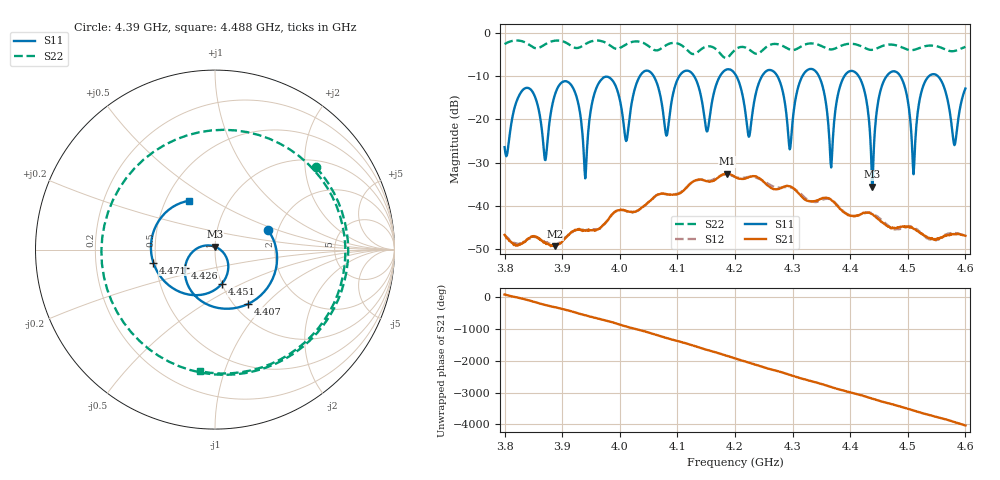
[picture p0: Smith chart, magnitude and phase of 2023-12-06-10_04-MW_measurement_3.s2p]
!Created with skrf (http://scikit-rf.org).
# Hz S RI R 50.0
!freq ReS11 ImS11 ReS21 ImS21 ReS12 ImS12 ReS22 ImS22
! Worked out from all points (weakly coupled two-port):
!   801 points, 3.8 GHz to 4.6 GHz, reference 50 ohm
!   highest |S21| = -32.49 dB at 4.186 GHz (marker M1); lowest = -49.2 dB at 3.887 GHz (marker M2)
!   lowest |S11| = -35.6 dB at 4.438 GHz (marker M3), VSWR 1.03, Z = 49.9 + j1.66 ohm
!   |S11| at or under -10 dB: start of sweep to 4.035 GHz; 4.414 GHz to 4.464 GHz (49.06 MHz wide, 1.11 % of centre); 4.487 GHz to 4.537 GHz (50.35 MHz wide, 1.12 % of centre) (the widest 3 of 9)
!   |S22| runs from -5.9 to -1.8 dB; largest |S21 - S12| = 0.0027
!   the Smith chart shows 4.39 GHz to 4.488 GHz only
!   S11 on the Smith chart (normalised r, x): 4.39 GHz: 1.78, +0.42; 4.407 GHz: 1.15, -0.80; 4.426 GHz: 0.70, -0.15; 4.451 GHz: 1.00, -0.40; 4.471 GHz: 0.48, -0.08; 4.488 GHz: 0.66, +0.39
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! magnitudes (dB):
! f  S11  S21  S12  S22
! 3.8 GHz  -26.4  -46.6  -46.8  -2.7
! 3.887 GHz  -14.5  -49.2  -48.9  -1.9
! 3.934 GHz  -21.7  -45.5  -45.4  -3.2
! 4.067 GHz  -12.7  -37.3  -37.4  -4.0
! 4.152 GHz  -22.7  -34.3  -34.1  -3.2
! 4.186 GHz  -8.5  -32.5  -32.8  -5.8
! 4.2 GHz  -9.5  -33.3  -33.3  -4.0
! 4.295 GHz  -26.9  -35.4  -35.7  -3.9
! 4.334 GHz  -8.4  -38.9  -39.0  -2.5
! 4.367 GHz  -31.1  -38.6  -38.6  -3.9
! 4.39 GHz  -10.0  -41.5  -41.3  -2.8
! 4.407 GHz  -9.0  -42.3  -42.3  -2.7
! 4.426 GHz  -14.2  -41.5  -41.7  -3.6
! 4.438 GHz  -35.6  -41.8  -41.6  -4.0
! 4.451 GHz  -14.3  -43.2  -42.8  -3.4
! 4.467 GHz  -9.5  -44.7  -44.6  -2.8
! 4.471 GHz  -9.1  -45.0  -45.1  -2.8
! 4.488 GHz  -10.3  -44.7  -45.2  -3.3
! 4.51 GHz  -32.7  -45.2  -44.9  -4.0
! 4.535 GHz  -10.3  -47.3  -47.5  -3.0
! 4.581 GHz  -25.9  -46.5  -46.3  -4.3
! 4.6 GHz  -12.9  -46.8  -47.0  -3.3
